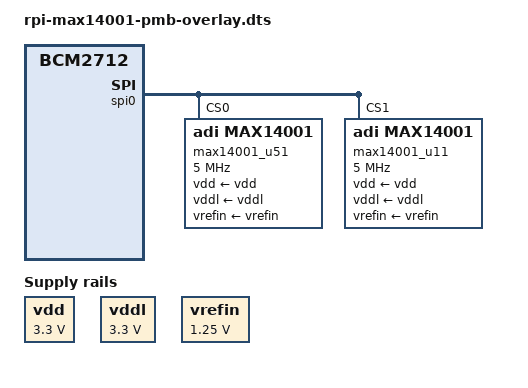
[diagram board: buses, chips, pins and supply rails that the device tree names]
// SPDX-License-Identifier: GPL-2.0-only
/*
 * Overlay for the MAX14001 ADC
 *
 * Copyright (c) 2025 Marilene Andrade Garcia <marilene.agarcia@gmail.com>
 *
 * Datasheet: https://www.analog.com/media/en/technical-documentation/data-sheets/MAX14001-MAX14002.pdf
 */

/dts-v1/;
/plugin/;

/ {
	compatible = "brcm,bcm2712";
};

&{/} {
	vdd: fixedregulator@0 {
		compatible = "regulator-fixed";
		regulator-name = "Isolated DC-DC Power Supply Input Voltage";
		regulator-min-microvolt = <3300000>;
		regulator-max-microvolt = <3300000>;
		regulator-boot-on;
		regulator-always-on;
		status = "okay";
	};

	vddl: fixedregulator@1 {
		compatible = "regulator-fixed";
		regulator-name = "Logic Power Supply Voltage";
		regulator-min-microvolt = <3300000>;
		regulator-max-microvolt = <3300000>;
		regulator-boot-on;
		regulator-always-on;
		status = "okay";
	};

	vrefin: fixedregulator@2 {
		compatible = "regulator-fixed";
		regulator-name = "Reference Input Range Voltage";
		regulator-min-microvolt = <1250000>;
		regulator-max-microvolt = <1250000>;
		regulator-boot-on;
		regulator-always-on;
		status = "okay";
	};
};

&spi0 {
    status = "okay";
	max14001_u51: max14001@0 {
		compatible = "adi,max14001";
		reg = <0x0>;
		spi-max-frequency = <5000000>;
		vdd-supply = <&vdd>;
		vddl-supply = <&vddl>;
		vrefin-supply = <&vrefin>;
		status = "okay";
	};
	max14001_u11: max14001@1 {
		compatible = "adi,max14001";
		reg = <0x1>;
		spi-max-frequency = <5000000>;
		vdd-supply = <&vdd>;
		vddl-supply = <&vddl>;
		vrefin-supply = <&vrefin>;
		status = "okay";
	};
};

&spidev0 {
	status = "disabled";
};

&spidev1 {
	status = "disabled";
};
